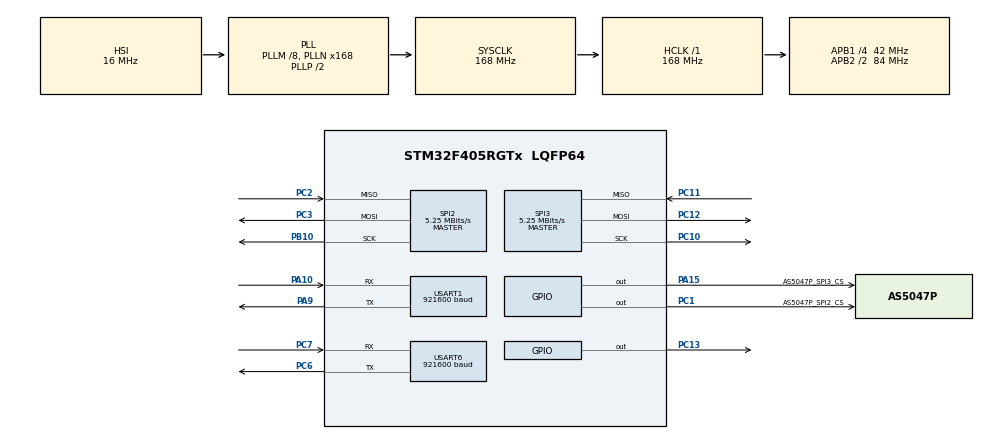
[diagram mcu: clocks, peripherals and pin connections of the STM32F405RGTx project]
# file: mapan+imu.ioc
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Dma.Request0=USART1_RX
Dma.Request1=USART1_TX
Dma.Request2=USART6_RX
Dma.USART1_RX.0.Direction=DMA_PERIPH_TO_MEMORY
Dma.USART1_RX.0.FIFOMode=DMA_FIFOMODE_DISABLE
Dma.USART1_RX.0.Instance=DMA2_Stream2
Dma.USART1_RX.0.MemDataAlignment=DMA_MDATAALIGN_BYTE
Dma.USART1_RX.0.MemInc=DMA_MINC_ENABLE
Dma.USART1_RX.0.Mode=DMA_CIRCULAR
Dma.USART1_RX.0.PeriphDataAlignment=DMA_PDATAALIGN_BYTE
Dma.USART1_RX.0.PeriphInc=DMA_PINC_DISABLE
Dma.USART1_RX.0.Priority=DMA_PRIORITY_LOW
Dma.USART1_TX.1.Direction=DMA_MEMORY_TO_PERIPH
Dma.USART1_TX.1.FIFOMode=DMA_FIFOMODE_DISABLE
Dma.USART1_TX.1.Instance=DMA2_Stream7
Dma.USART1_TX.1.MemDataAlignment=DMA_MDATAALIGN_BYTE
Dma.USART1_TX.1.MemInc=DMA_MINC_ENABLE
Dma.USART1_TX.1.Mode=DMA_NORMAL
Dma.USART1_TX.1.PeriphDataAlignment=DMA_PDATAALIGN_BYTE
Dma.USART1_TX.1.PeriphInc=DMA_PINC_DISABLE
Dma.USART1_TX.1.Priority=DMA_PRIORITY_LOW
Dma.USART6_RX.2.Direction=DMA_PERIPH_TO_MEMORY
Dma.USART6_RX.2.FIFOMode=DMA_FIFOMODE_DISABLE
Dma.USART6_RX.2.Instance=DMA2_Stream1
Dma.USART6_RX.2.MemDataAlignment=DMA_MDATAALIGN_BYTE
Dma.USART6_RX.2.MemInc=DMA_MINC_ENABLE
Dma.USART6_RX.2.Mode=DMA_CIRCULAR
Dma.USART6_RX.2.PeriphDataAlignment=DMA_PDATAALIGN_BYTE
Dma.USART6_RX.2.PeriphInc=DMA_PINC_DISABLE
Dma.USART6_RX.2.Priority=DMA_PRIORITY_LOW
Mcu.Family=STM32F4
Mcu.Name=STM32F405RGTx
Mcu.Package=LQFP64
NVIC.DMA2_Stream1_IRQn=true\:0\:0\:false\:false\:true\:false\:true\:true
NVIC.DMA2_Stream2_IRQn=true\:0\:0\:false\:false\:true\:false\:true\:true
NVIC.DMA2_Stream7_IRQn=true\:0\:0\:false\:false\:true\:false\:true\:true
NVIC.PriorityGroup=NVIC_PRIORITYGROUP_4
NVIC.SPI3_IRQn=true\:0\:0\:false\:false\:true\:true\:true\:true
NVIC.TIM2_IRQn=true\:0\:0\:false\:false\:true\:true\:true\:true
NVIC.USART1_IRQn=true\:0\:0\:false\:false\:true\:true\:true\:true
NVIC.USART6_IRQn=true\:0\:0\:false\:false\:true\:true\:true\:true
PA10.Mode=Asynchronous
PA10.Signal=USART1_RX
PA13.Mode=Serial_Wire
PA13.Signal=SYS_JTMS-SWDIO
PA14.Mode=Serial_Wire
PA14.Signal=SYS_JTCK-SWCLK
PA15.GPIO_Label=AS5047P_SPI3_CS
PA15.GPIO_ModeDefaultOutputPP=GPIO_MODE_OUTPUT_PP
PA15.GPIO_PuPd=GPIO_PULLUP
PA15.GPIO_Speed=GPIO_SPEED_FREQ_HIGH
PA15.PinState=GPIO_PIN_SET
PA15.Signal=GPIO_Output
PA9.Mode=Asynchronous
PA9.Signal=USART1_TX
PB10.Mode=Full_Duplex_Master
PB10.Signal=SPI2_SCK
PC1.GPIO_Label=AS5047P_SPI2_CS
PC1.GPIO_PuPd=GPIO_PULLUP
PC1.GPIO_Speed=GPIO_SPEED_FREQ_HIGH
PC1.PinState=GPIO_PIN_SET
PC1.Signal=GPIO_Output
PC10.Mode=Full_Duplex_Master
PC10.Signal=SPI3_SCK
PC11.Mode=Full_Duplex_Master
PC11.Signal=SPI3_MISO
PC12.Mode=Full_Duplex_Master
PC12.Signal=SPI3_MOSI
PC13-ANTI_TAMP.GPIO_ModeDefaultOutputPP=GPIO_MODE_OUTPUT_PP
PC13-ANTI_TAMP.GPIO_PuPd=GPIO_PULLUP
PC13-ANTI_TAMP.Signal=GPIO_Output
PC2.Mode=Full_Duplex_Master
PC2.Signal=SPI2_MISO
PC3.Mode=Full_Duplex_Master
PC3.Signal=SPI2_MOSI
PC6.Mode=Asynchronous
PC6.Signal=USART6_TX
PC7.Mode=Asynchronous
PC7.Signal=USART6_RX
PH0-OSC_IN.Mode=HSE-External-Oscillator
PH0-OSC_IN.Signal=RCC_OSC_IN
PH1-OSC_OUT.Mode=HSE-External-Oscillator
PH1-OSC_OUT.Signal=RCC_OSC_OUT
ProjectManager.HeapSize=0x200
ProjectManager.StackSize=0x400
ProjectManager.TargetToolchain=MDK-ARM V5.32
RCC.48MHZClocksFreq_Value=84000000
RCC.AHBFreq_Value=168000000
RCC.APB1CLKDivider=RCC_HCLK_DIV4
RCC.APB1Freq_Value=42000000
RCC.APB1TimFreq_Value=84000000
RCC.APB2CLKDivider=RCC_HCLK_DIV2
RCC.APB2Freq_Value=84000000
RCC.APB2TimFreq_Value=168000000
RCC.CortexFreq_Value=168000000
RCC.HCLKFreq_Value=168000000
RCC.HSE_VALUE=25000000
RCC.HSI_VALUE=16000000
RCC.LSE_VALUE=32768
RCC.PLLM=8
RCC.PLLN=168
RCC.SYSCLKFreq_VALUE=168000000
RCC.SYSCLKSource=RCC_SYSCLKSOURCE_PLLCLK
RCC.VCOOutputFreq_Value=336000000
SPI2.BaudRatePrescaler=SPI_BAUDRATEPRESCALER_8
SPI2.CLKPhase=SPI_PHASE_2EDGE
SPI2.CalculateBaudRate=5.25 MBits/s
SPI2.DataSize=SPI_DATASIZE_16BIT
SPI2.Direction=SPI_DIRECTION_2LINES
SPI2.Mode=SPI_MODE_MASTER
SPI2.VirtualType=VM_MASTER
SPI3.BaudRatePrescaler=SPI_BAUDRATEPRESCALER_8
SPI3.CLKPhase=SPI_PHASE_2EDGE
SPI3.CalculateBaudRate=5.25 MBits/s
SPI3.DataSize=SPI_DATASIZE_16BIT
SPI3.Direction=SPI_DIRECTION_2LINES
SPI3.Mode=SPI_MODE_MASTER
SPI3.VirtualType=VM_MASTER
TIM2.Period=999
TIM2.Prescaler=167
USART1.BaudRate=921600
USART1.VirtualMode=VM_ASYNC
USART6.BaudRate=921600
USART6.VirtualMode=VM_ASYNC
VP_TIM2_VS_ClockSourceINT.Mode=Internal
board=custom

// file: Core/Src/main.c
/* USER CODE BEGIN Header */
/**
  ******************************************************************************
  * @file           : main.c
  * @brief          : Main program body (Robocon 控制组规范精简主函数)
  ******************************************************************************
  * @attention
  *
  * Copyright (c) 2026 STMicroelectronics.
  * All rights reserved.
  *
  * This software is licensed under terms that can be found in the LICENSE file
  * in the root directory of this software component.
  * If no LICENSE file comes with this software, it is provided AS-IS.
  *
  ******************************************************************************
  */
/* USER CODE END Header */
#include "main.h"
#include "dma.h"
#include "spi.h"
#include "tim.h"
#include "usart.h"
#include "gpio.h"

/* USER CODE BEGIN Includes */
#include "my_main.h"
#include "imu.h"

/* USER CODE END Includes */

void SystemClock_Config(void);

int main(void)
{

  /* MCU Configuration--------------------------------------------------------*/

  /* Reset of all peripherals, Initializes the Flash interface and the Systick. */
  HAL_Init();

  /* Configure the system clock */
  SystemClock_Config();

  /* Initialize all configured peripherals */
  MX_GPIO_Init();
  MX_DMA_Init();
  MX_SPI2_Init();
  MX_SPI3_Init();
  MX_USART1_UART_Init();
  MX_TIM2_Init();
  MX_USART6_UART_Init();
  /* USER CODE BEGIN 2 */
  MyMain_Init();

  /* USER CODE END 2 */

  /* Infinite loop */
  while (1)
  {

    /* USER CODE BEGIN 3 */
    MyMain_Loop(); // 后台持续调用 IMU 报文调度与零漂自检任务

#define VOFA_CH_COUNT 4U

    struct VofaFrame
    {
      float fdata[VOFA_CH_COUNT];
      unsigned char tail[4];
    } vofa_frame;

    /* 1. 可以选择输出哪几个数据到 VOFA+ 曲线 (可以在这里自由选择或修改想要观察的通道) */
    vofa_frame.fdata[0] = Imu_GetYaw();   // 曲线 1：偏航角 Yaw (-180~180°)
    vofa_frame.fdata[1] = Imu_GetGyroZ(); // 曲线 2：去除零偏后的 Z 轴角速度 (°/s)
    vofa_frame.fdata[3] = Imu_GetPosX();  // 曲线 4：梯形双重积分累计位置 (m)
    vofa_frame.fdata[2] = Imu_GetVelX();  // 曲线 3：ZUPT 闭环纠正后的前向速度 (m/s)

    /* 2. 填充 VOFA+ JustFloat 固定的 4 字节帧尾: 0x00, 0x00, 0x80, 0x7F */
    vofa_frame.tail[0] = 0x00U;
    vofa_frame.tail[1] = 0x00U;
    vofa_frame.tail[2] = 0x80U;
    vofa_frame.tail[3] = 0x7FU;

    /* 3. 将整个结构体以小端浮点二进制流格式发送给 USART1 (超时设为 20ms) */
    HAL_UART_Transmit(&huart1, (uint8_t *)&vofa_frame, sizeof(vofa_frame), 20U);

    HAL_Delay(20); // 50Hz 采样帧率发往 VOFA+
  }
  /* USER CODE END 3 */
}

void SystemClock_Config(void)
{
  RCC_OscInitTypeDef RCC_OscInitStruct = {0};
  RCC_ClkInitTypeDef RCC_ClkInitStruct = {0};

  /** Configure the main internal regulator output voltage
  */
  __HAL_RCC_PWR_CLK_ENABLE();
  __HAL_PWR_VOLTAGESCALING_CONFIG(PWR_REGULATOR_VOLTAGE_SCALE1);

  /** Initializes the RCC Oscillators according to the specified parameters
  * in the RCC_OscInitTypeDef structure.
  */
  RCC_OscInitStruct.OscillatorType = RCC_OSCILLATORTYPE_HSI;
  RCC_OscInitStruct.HSIState = RCC_HSI_ON;
  RCC_OscInitStruct.HSICalibrationValue = RCC_HSICALIBRATION_DEFAULT;
  RCC_OscInitStruct.PLL.PLLState = RCC_PLL_ON;
  RCC_OscInitStruct.PLL.PLLSource = RCC_PLLSOURCE_HSI;
  RCC_OscInitStruct.PLL.PLLM = 8;
  RCC_OscInitStruct.PLL.PLLN = 168;
  RCC_OscInitStruct.PLL.PLLP = RCC_PLLP_DIV2;
  RCC_OscInitStruct.PLL.PLLQ = 4;
  if (HAL_RCC_OscConfig(&RCC_OscInitStruct) != HAL_OK)
  {
    Error_Handler();
  }

  /** Initializes the CPU, AHB and APB buses clocks
  */
  RCC_ClkInitStruct.ClockType = RCC_CLOCKTYPE_HCLK|RCC_CLOCKTYPE_SYSCLK
                              |RCC_CLOCKTYPE_PCLK1|RCC_CLOCKTYPE_PCLK2;
  RCC_ClkInitStruct.SYSCLKSource = RCC_SYSCLKSOURCE_PLLCLK;
  RCC_ClkInitStruct.AHBCLKDivider = RCC_SYSCLK_DIV1;
  RCC_ClkInitStruct.APB1CLKDivider = RCC_HCLK_DIV4;
  RCC_ClkInitStruct.APB2CLKDivider = RCC_HCLK_DIV2;

  if (HAL_RCC_ClockConfig(&RCC_ClkInitStruct, FLASH_LATENCY_5) != HAL_OK)
  {
    Error_Handler();
  }
}

/* USER CODE BEGIN 4 */
void HAL_UARTEx_RxEventCallback(UART_HandleTypeDef *huart, uint16_t Size)
{
  MyMain_RxCallback(huart, Size);
}

void HAL_UART_TxCpltCallback(UART_HandleTypeDef *huart)
{
  MyMain_TxCallback(huart);
}

void HAL_UART_ErrorCallback(UART_HandleTypeDef *huart)
{
  MyMain_ErrorCallback(huart);
}

void HAL_TIM_PeriodElapsedCallback(TIM_HandleTypeDef *htim)
{
  (void)htim;
}

/* USER CODE END 4 */

void Error_Handler(void)
{
  __disable_irq();
  while (1)
  {
  }
}
